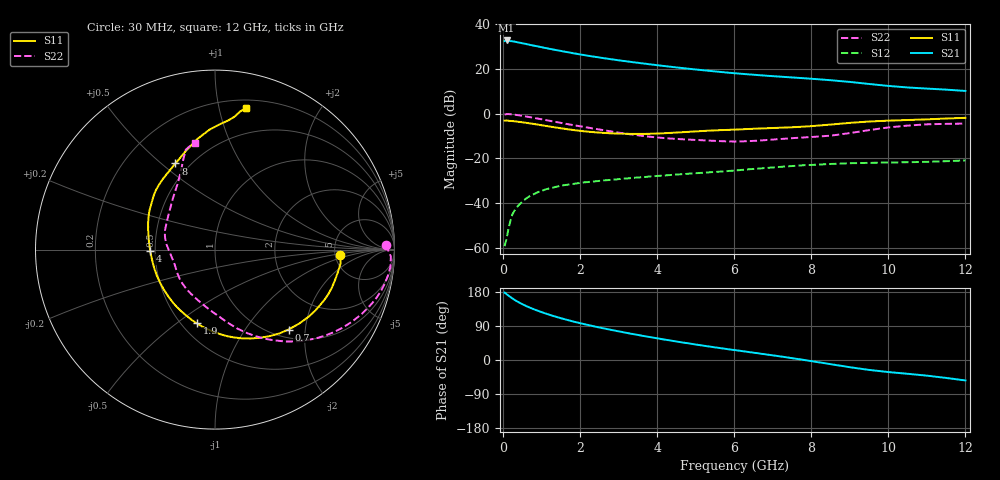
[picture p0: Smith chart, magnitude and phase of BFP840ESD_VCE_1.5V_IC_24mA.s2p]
! Infineon Technologies  Discrete & RF Semiconductors
! BFP840ESD
! VCE =  1.5 V,  IC =  24 mA
! Common Emitter S-Parameters:  May 2012
# GHz  S  MA  R  50
!  f  S11  S21  S12  S22
! GHz  MAG  ANG  MAG  ANG  MAG  ANG  MAG  ANG
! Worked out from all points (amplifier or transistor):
!   93 points, 30 MHz to 12 GHz, reference 50 ohm
!   highest |S21| = 32.7 dB at 80 MHz (marker M1)
!   |S21| within 3 dB of that: start of sweep to 985.3 MHz
!   unconditionally stable (mu >= 1): 4.59 GHz to 8.238 GHz
!   at 1.1 GHz: K = 0.44, MSG = 31.5 dB, |S12| = -33.8 dB
!   at 4.2 GHz: K = 0.97, MSG = 24.4 dB, |S12| = -27.6 dB
!   at 12 GHz: K = 0.75, MSG = 15.5 dB, |S12| = -20.9 dB
!   S11 on the Smith chart (normalised r, x): 30 MHz: 5.55, -0.66; 700 MHz: 1.16, -1.63; 1.9 GHz: 0.59, -0.59; 4 GHz: 0.47, -0.01; 8 GHz: 0.42, +0.56; 12 GHz: 0.26, +1.21
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0.03  0.6982 -2.5  41.88 177.9  0.0011 94.7  0.953 1.6
0.08  0.7041 -6.3  43.25 173.8  0.0016 96.8  0.9808 -2.3
0.23  0.6848 -18.0  41.42 162.7  0.0056 80.8  0.9642 -11.4
0.33  0.6702 -25.0  39.99 156.1  0.0078 78.1  0.9405 -16.4
0.5  0.6414 -35.8  37.26 146.8  0.0111 71.9  0.892 -23.8
0.7  0.605 -47.4  34.28 137.6  0.0148 66.1  0.8343 -31.4
1  0.5512 -63.1  30.44 126.0  0.0189 59.4  0.7484 -41.4
1.3  0.5011 -77.7  27.05 116.0  0.0225 54.3  0.6692 -49.9
1.6  0.4586 -90.9  24.24 107.3  0.0255 50.2  0.5996 -57.3
1.9  0.423 -103.9  21.78 99.4  0.0278 47.0  0.5398 -64.0
2.1  0.4043 -111.9  20.37 94.6  0.0293 45.2  0.5052 -68.1
2.5  0.3783 -127.5  17.96 85.6  0.0316 42.4  0.4426 -75.9
2.9  0.3619 -142.1  16.01 77.4  0.0339 40.3  0.3893 -83.8
3.4  0.3539 -159.4  14.03 67.8  0.0371 38.4  0.3377 -94.9
4  0.3609 -178.9  12.1 57.1  0.0408 35.9  0.294 -110.3
4.1  0.3634 178.2  11.82 55.3  0.0413 35.9  0.2892 -113.1
5  0.4027 157.6  9.708 40.8  0.0469 32.6  0.259 -136.4
6.1  0.4448 141.6  7.891 24.9  0.0546 29.1  0.2405 -162.8
8  0.5281 114.7  6.032 -3.0  0.0718 16.5  0.3014 156.4
8.5  0.5721 106.6  5.595 -11.0  0.0754 12.2  0.3234 143.3
10.5  0.7228 84.2  3.852 -36.4  0.0825 -3.1  0.5426 108.7
12  0.8087 77.6  3.222 -54.0  0.0906 -10.6  0.6012 100.5
